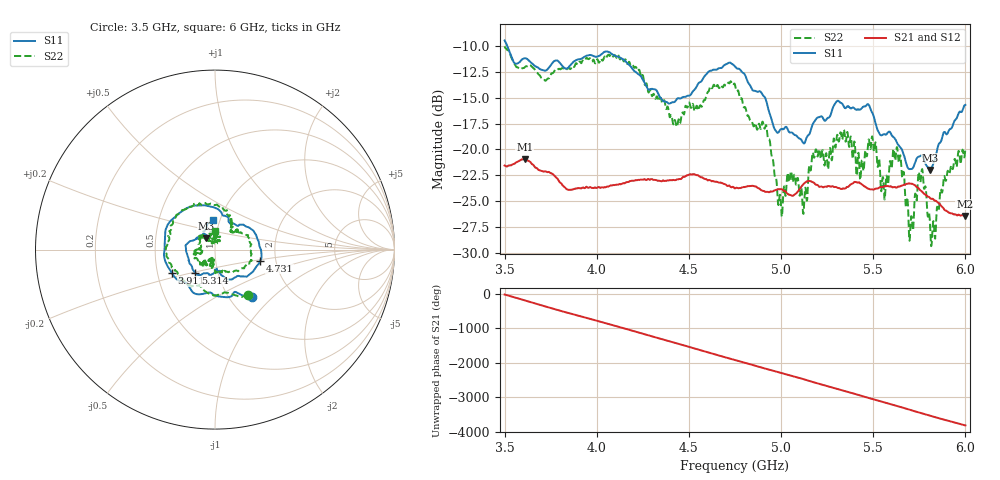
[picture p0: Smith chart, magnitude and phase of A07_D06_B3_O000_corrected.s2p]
! Created with skrf 1.9.0 (http://scikit-rf.org).
# Hz S RI R 50.0
!freq ReS11 ImS11 ReS21 ImS21 ReS12 ImS12 ReS22 ImS22
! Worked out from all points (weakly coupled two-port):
!   1601 points, 3.5 GHz to 6 GHz, reference 50 ohm
!   highest |S21| = -20.92 dB at 3.609 GHz (marker M1); lowest = -26.4 dB at 5.997 GHz (marker M2)
!   lowest |S11| = -22.0 dB at 5.808 GHz (marker M3), VSWR 1.17, Z = 45 + j5.71 ohm
!   |S11| at or under -10 dB: 3.515 GHz to end of sweep
!   |S22| runs from -29.3 to -10.0 dB; largest |S21 - S12| = 0.00098
!   S11 on the Smith chart (normalised r, x): 3.5 GHz: 1.27, -0.76; 3.911 GHz: 0.59, -0.17; 4.731 GHz: 1.66, -0.22; 5.314 GHz: 0.78, -0.21; 6 GHz: 0.92, +0.31
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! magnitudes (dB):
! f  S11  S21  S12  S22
! 3.5 GHz  -9.5  -21.6  -21.5  -10.0
! 3.609 GHz  -11.2  -20.9  -20.9  -12.0
! 3.911 GHz  -11.3  -23.8  -23.7  -11.5
! 3.917 GHz  -11.2  -23.7  -23.7  -11.6
! 4.127 GHz  -11.1  -23.3  -23.3  -11.3
! 4.334 GHz  -14.6  -23.0  -23.0  -15.2
! 4.441 GHz  -15.0  -22.9  -22.8  -17.4
! 4.731 GHz  -11.7  -23.7  -23.6  -13.6
! 4.75 GHz  -12.0  -23.8  -23.7  -13.7
! 4.912 GHz  -15.0  -24.1  -24.0  -17.9
! 4.995 GHz  -18.1  -23.8  -23.8  -24.4
! 5.045 GHz  -18.3  -24.4  -24.3  -23.1
! 5.13 GHz  -19.3  -23.2  -23.2  -23.9
! 5.167 GHz  -17.8  -23.1  -23.1  -20.9
! 5.314 GHz  -15.3  -23.7  -23.7  -19.2
! 5.584 GHz  -18.3  -23.6  -23.5  -22.5
! 5.638 GHz  -19.6  -23.6  -23.5  -21.2
! 5.705 GHz  -21.9  -23.3  -23.3  -26.8
! 5.758 GHz  -20.6  -24.0  -23.9  -22.9
! 5.808 GHz  -22.0  -24.7  -24.6  -27.1
! 5.997 GHz  -15.7  -26.4  -26.4  -20.5
! 6 GHz  -15.7  -26.4  -26.4  -19.9
